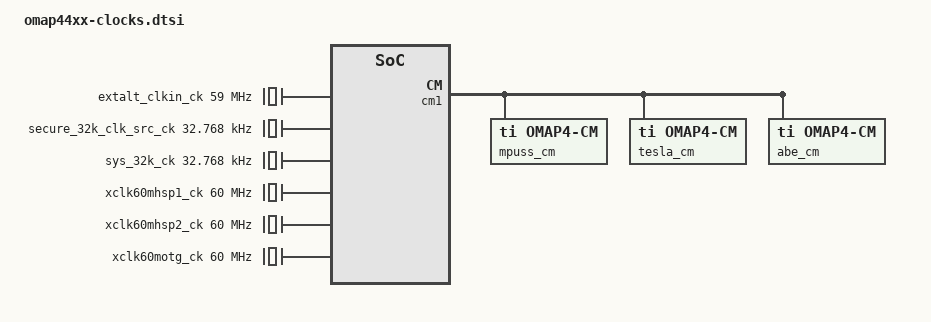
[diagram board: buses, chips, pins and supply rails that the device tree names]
// SPDX-License-Identifier: GPL-2.0-only
/*
 * Device Tree Source for OMAP4 clock data
 *
 * Copyright (C) 2013 Texas Instruments, Inc.
 */
&cm1_clocks {
	extalt_clkin_ck: extalt_clkin_ck {
		#clock-cells = <0>;
		compatible = "fixed-clock";
		clock-output-names = "extalt_clkin_ck";
		clock-frequency = <59000000>;
	};

	pad_clks_src_ck: pad_clks_src_ck {
		#clock-cells = <0>;
		compatible = "fixed-clock";
		clock-output-names = "pad_clks_src_ck";
		clock-frequency = <12000000>;
	};

	pad_clks_ck: pad_clks_ck@108 {
		#clock-cells = <0>;
		compatible = "ti,gate-clock";
		clock-output-names = "pad_clks_ck";
		clocks = <&pad_clks_src_ck>;
		ti,bit-shift = <8>;
		reg = <0x0108>;
	};

	pad_slimbus_core_clks_ck: pad_slimbus_core_clks_ck {
		#clock-cells = <0>;
		compatible = "fixed-clock";
		clock-output-names = "pad_slimbus_core_clks_ck";
		clock-frequency = <12000000>;
	};

	secure_32k_clk_src_ck: secure_32k_clk_src_ck {
		#clock-cells = <0>;
		compatible = "fixed-clock";
		clock-output-names = "secure_32k_clk_src_ck";
		clock-frequency = <32768>;
	};

	slimbus_src_clk: slimbus_src_clk {
		#clock-cells = <0>;
		compatible = "fixed-clock";
		clock-output-names = "slimbus_src_clk";
		clock-frequency = <12000000>;
	};

	slimbus_clk: slimbus_clk@108 {
		#clock-cells = <0>;
		compatible = "ti,gate-clock";
		clock-output-names = "slimbus_clk";
		clocks = <&slimbus_src_clk>;
		ti,bit-shift = <10>;
		reg = <0x0108>;
	};

	sys_32k_ck: sys_32k_ck {
		#clock-cells = <0>;
		compatible = "fixed-clock";
		clock-output-names = "sys_32k_ck";
		clock-frequency = <32768>;
	};

	virt_12000000_ck: virt_12000000_ck {
		#clock-cells = <0>;
		compatible = "fixed-clock";
		clock-output-names = "virt_12000000_ck";
		clock-frequency = <12000000>;
	};

	virt_13000000_ck: virt_13000000_ck {
		#clock-cells = <0>;
		compatible = "fixed-clock";
		clock-output-names = "virt_13000000_ck";
		clock-frequency = <13000000>;
	};

	virt_16800000_ck: virt_16800000_ck {
		#clock-cells = <0>;
		compatible = "fixed-clock";
		clock-output-names = "virt_16800000_ck";
		clock-frequency = <16800000>;
	};

	virt_19200000_ck: virt_19200000_ck {
		#clock-cells = <0>;
		compatible = "fixed-clock";
		clock-output-names = "virt_19200000_ck";
		clock-frequency = <19200000>;
	};

	virt_26000000_ck: virt_26000000_ck {
		#clock-cells = <0>;
		compatible = "fixed-clock";
		clock-output-names = "virt_26000000_ck";
		clock-frequency = <26000000>;
	};

	virt_27000000_ck: virt_27000000_ck {
		#clock-cells = <0>;
		compatible = "fixed-clock";
		clock-output-names = "virt_27000000_ck";
		clock-frequency = <27000000>;
	};

	virt_38400000_ck: virt_38400000_ck {
		#clock-cells = <0>;
		compatible = "fixed-clock";
		clock-output-names = "virt_38400000_ck";
		clock-frequency = <38400000>;
	};

	tie_low_clock_ck: tie_low_clock_ck {
		#clock-cells = <0>;
		compatible = "fixed-clock";
		clock-output-names = "tie_low_clock_ck";
		clock-frequency = <0>;
	};

	utmi_phy_clkout_ck: utmi_phy_clkout_ck {
		#clock-cells = <0>;
		compatible = "fixed-clock";
		clock-output-names = "utmi_phy_clkout_ck";
		clock-frequency = <60000000>;
	};

	xclk60mhsp1_ck: xclk60mhsp1_ck {
		#clock-cells = <0>;
		compatible = "fixed-clock";
		clock-output-names = "xclk60mhsp1_ck";
		clock-frequency = <60000000>;
	};

	xclk60mhsp2_ck: xclk60mhsp2_ck {
		#clock-cells = <0>;
		compatible = "fixed-clock";
		clock-output-names = "xclk60mhsp2_ck";
		clock-frequency = <60000000>;
	};

	xclk60motg_ck: xclk60motg_ck {
		#clock-cells = <0>;
		compatible = "fixed-clock";
		clock-output-names = "xclk60motg_ck";
		clock-frequency = <60000000>;
	};

	dpll_abe_ck: dpll_abe_ck@1e0 {
		#clock-cells = <0>;
		compatible = "ti,omap4-dpll-m4xen-clock";
		clock-output-names = "dpll_abe_ck";
		clocks = <&abe_dpll_refclk_mux_ck>, <&abe_dpll_bypass_clk_mux_ck>;
		reg = <0x01e0>, <0x01e4>, <0x01ec>, <0x01e8>;
	};

	dpll_abe_x2_ck: dpll_abe_x2_ck@1f0 {
		#clock-cells = <0>;
		compatible = "ti,omap4-dpll-x2-clock";
		clock-output-names = "dpll_abe_x2_ck";
		clocks = <&dpll_abe_ck>;
		reg = <0x01f0>;
	};

	dpll_abe_m2x2_ck: dpll_abe_m2x2_ck@1f0 {
		#clock-cells = <0>;
		compatible = "ti,divider-clock";
		clock-output-names = "dpll_abe_m2x2_ck";
		clocks = <&dpll_abe_x2_ck>;
		ti,max-div = <31>;
		ti,autoidle-shift = <8>;
		reg = <0x01f0>;
		ti,index-starts-at-one;
		ti,invert-autoidle-bit;
	};

	abe_24m_fclk: abe_24m_fclk {
		#clock-cells = <0>;
		compatible = "fixed-factor-clock";
		clock-output-names = "abe_24m_fclk";
		clocks = <&dpll_abe_m2x2_ck>;
		clock-mult = <1>;
		clock-div = <8>;
	};

	abe_clk: abe_clk@108 {
		#clock-cells = <0>;
		compatible = "ti,divider-clock";
		clock-output-names = "abe_clk";
		clocks = <&dpll_abe_m2x2_ck>;
		ti,max-div = <4>;
		reg = <0x0108>;
		ti,index-power-of-two;
	};


	dpll_abe_m3x2_ck: dpll_abe_m3x2_ck@1f4 {
		#clock-cells = <0>;
		compatible = "ti,divider-clock";
		clock-output-names = "dpll_abe_m3x2_ck";
		clocks = <&dpll_abe_x2_ck>;
		ti,max-div = <31>;
		ti,autoidle-shift = <8>;
		reg = <0x01f4>;
		ti,index-starts-at-one;
		ti,invert-autoidle-bit;
	};

	core_hsd_byp_clk_mux_ck: core_hsd_byp_clk_mux_ck@12c {
		#clock-cells = <0>;
		compatible = "ti,mux-clock";
		clock-output-names = "core_hsd_byp_clk_mux_ck";
		clocks = <&sys_clkin_ck>, <&dpll_abe_m3x2_ck>;
		ti,bit-shift = <23>;
		reg = <0x012c>;
	};

	dpll_core_ck: dpll_core_ck@120 {
		#clock-cells = <0>;
		compatible = "ti,omap4-dpll-core-clock";
		clock-output-names = "dpll_core_ck";
		clocks = <&sys_clkin_ck>, <&core_hsd_byp_clk_mux_ck>;
		reg = <0x0120>, <0x0124>, <0x012c>, <0x0128>;
	};

	dpll_core_x2_ck: dpll_core_x2_ck {
		#clock-cells = <0>;
		compatible = "ti,omap4-dpll-x2-clock";
		clock-output-names = "dpll_core_x2_ck";
		clocks = <&dpll_core_ck>;
	};

	dpll_core_m6x2_ck: dpll_core_m6x2_ck@140 {
		#clock-cells = <0>;
		compatible = "ti,divider-clock";
		clock-output-names = "dpll_core_m6x2_ck";
		clocks = <&dpll_core_x2_ck>;
		ti,max-div = <31>;
		ti,autoidle-shift = <8>;
		reg = <0x0140>;
		ti,index-starts-at-one;
		ti,invert-autoidle-bit;
	};

	dpll_core_m2_ck: dpll_core_m2_ck@130 {
		#clock-cells = <0>;
		compatible = "ti,divider-clock";
		clock-output-names = "dpll_core_m2_ck";
		clocks = <&dpll_core_ck>;
		ti,max-div = <31>;
		ti,autoidle-shift = <8>;
		reg = <0x0130>;
		ti,index-starts-at-one;
		ti,invert-autoidle-bit;
	};

	ddrphy_ck: ddrphy_ck {
		#clock-cells = <0>;
		compatible = "fixed-factor-clock";
		clock-output-names = "ddrphy_ck";
		clocks = <&dpll_core_m2_ck>;
		clock-mult = <1>;
		clock-div = <2>;
	};

	dpll_core_m5x2_ck: dpll_core_m5x2_ck@13c {
		#clock-cells = <0>;
		compatible = "ti,divider-clock";
		clock-output-names = "dpll_core_m5x2_ck";
		clocks = <&dpll_core_x2_ck>;
		ti,max-div = <31>;
		ti,autoidle-shift = <8>;
		reg = <0x013c>;
		ti,index-starts-at-one;
		ti,invert-autoidle-bit;
	};

	div_core_ck: div_core_ck@100 {
		#clock-cells = <0>;
		compatible = "ti,divider-clock";
		clock-output-names = "div_core_ck";
		clocks = <&dpll_core_m5x2_ck>;
		reg = <0x0100>;
		ti,max-div = <2>;
	};

	div_iva_hs_clk: div_iva_hs_clk@1dc {
		#clock-cells = <0>;
		compatible = "ti,divider-clock";
		clock-output-names = "div_iva_hs_clk";
		clocks = <&dpll_core_m5x2_ck>;
		ti,max-div = <4>;
		reg = <0x01dc>;
		ti,index-power-of-two;
	};

	div_mpu_hs_clk: div_mpu_hs_clk@19c {
		#clock-cells = <0>;
		compatible = "ti,divider-clock";
		clock-output-names = "div_mpu_hs_clk";
		clocks = <&dpll_core_m5x2_ck>;
		ti,max-div = <4>;
		reg = <0x019c>;
		ti,index-power-of-two;
	};

	dpll_core_m4x2_ck: dpll_core_m4x2_ck@138 {
		#clock-cells = <0>;
		compatible = "ti,divider-clock";
		clock-output-names = "dpll_core_m4x2_ck";
		clocks = <&dpll_core_x2_ck>;
		ti,max-div = <31>;
		ti,autoidle-shift = <8>;
		reg = <0x0138>;
		ti,index-starts-at-one;
		ti,invert-autoidle-bit;
	};

	dll_clk_div_ck: dll_clk_div_ck {
		#clock-cells = <0>;
		compatible = "fixed-factor-clock";
		clock-output-names = "dll_clk_div_ck";
		clocks = <&dpll_core_m4x2_ck>;
		clock-mult = <1>;
		clock-div = <2>;
	};

	dpll_abe_m2_ck: dpll_abe_m2_ck@1f0 {
		#clock-cells = <0>;
		compatible = "ti,divider-clock";
		clock-output-names = "dpll_abe_m2_ck";
		clocks = <&dpll_abe_ck>;
		ti,max-div = <31>;
		reg = <0x01f0>;
		ti,index-starts-at-one;
	};

	dpll_core_m3x2_gate_ck: dpll_core_m3x2_gate_ck@134 {
		#clock-cells = <0>;
		compatible = "ti,composite-no-wait-gate-clock";
		clock-output-names = "dpll_core_m3x2_gate_ck";
		clocks = <&dpll_core_x2_ck>;
		ti,bit-shift = <8>;
		reg = <0x0134>;
	};

	dpll_core_m3x2_div_ck: dpll_core_m3x2_div_ck@134 {
		#clock-cells = <0>;
		compatible = "ti,composite-divider-clock";
		clock-output-names = "dpll_core_m3x2_div_ck";
		clocks = <&dpll_core_x2_ck>;
		ti,max-div = <31>;
		reg = <0x0134>;
		ti,index-starts-at-one;
	};

	dpll_core_m3x2_ck: dpll_core_m3x2_ck {
		#clock-cells = <0>;
		compatible = "ti,composite-clock";
		clock-output-names = "dpll_core_m3x2_ck";
		clocks = <&dpll_core_m3x2_gate_ck>, <&dpll_core_m3x2_div_ck>;
	};

	dpll_core_m7x2_ck: dpll_core_m7x2_ck@144 {
		#clock-cells = <0>;
		compatible = "ti,divider-clock";
		clock-output-names = "dpll_core_m7x2_ck";
		clocks = <&dpll_core_x2_ck>;
		ti,max-div = <31>;
		ti,autoidle-shift = <8>;
		reg = <0x0144>;
		ti,index-starts-at-one;
		ti,invert-autoidle-bit;
	};

	iva_hsd_byp_clk_mux_ck: iva_hsd_byp_clk_mux_ck@1ac {
		#clock-cells = <0>;
		compatible = "ti,mux-clock";
		clock-output-names = "iva_hsd_byp_clk_mux_ck";
		clocks = <&sys_clkin_ck>, <&div_iva_hs_clk>;
		ti,bit-shift = <23>;
		reg = <0x01ac>;
	};

	dpll_iva_ck: dpll_iva_ck@1a0 {
		#clock-cells = <0>;
		compatible = "ti,omap4-dpll-clock";
		clock-output-names = "dpll_iva_ck";
		clocks = <&sys_clkin_ck>, <&iva_hsd_byp_clk_mux_ck>;
		reg = <0x01a0>, <0x01a4>, <0x01ac>, <0x01a8>;
		assigned-clocks = <&dpll_iva_ck>;
		assigned-clock-rates = <931200000>;
	};

	dpll_iva_x2_ck: dpll_iva_x2_ck {
		#clock-cells = <0>;
		compatible = "ti,omap4-dpll-x2-clock";
		clock-output-names = "dpll_iva_x2_ck";
		clocks = <&dpll_iva_ck>;
	};

	dpll_iva_m4x2_ck: dpll_iva_m4x2_ck@1b8 {
		#clock-cells = <0>;
		compatible = "ti,divider-clock";
		clock-output-names = "dpll_iva_m4x2_ck";
		clocks = <&dpll_iva_x2_ck>;
		ti,max-div = <31>;
		ti,autoidle-shift = <8>;
		reg = <0x01b8>;
		ti,index-starts-at-one;
		ti,invert-autoidle-bit;
		assigned-clocks = <&dpll_iva_m4x2_ck>;
		assigned-clock-rates = <465600000>;
	};

	dpll_iva_m5x2_ck: dpll_iva_m5x2_ck@1bc {
		#clock-cells = <0>;
		compatible = "ti,divider-clock";
		clock-output-names = "dpll_iva_m5x2_ck";
		clocks = <&dpll_iva_x2_ck>;
		ti,max-div = <31>;
		ti,autoidle-shift = <8>;
		reg = <0x01bc>;
		ti,index-starts-at-one;
		ti,invert-autoidle-bit;
		assigned-clocks = <&dpll_iva_m5x2_ck>;
		assigned-clock-rates = <266100000>;
	};

	dpll_mpu_ck: dpll_mpu_ck@160 {
		#clock-cells = <0>;
		compatible = "ti,omap4-dpll-clock";
		clock-output-names = "dpll_mpu_ck";
		clocks = <&sys_clkin_ck>, <&div_mpu_hs_clk>;
		reg = <0x0160>, <0x0164>, <0x016c>, <0x0168>;
	};

	dpll_mpu_m2_ck: dpll_mpu_m2_ck@170 {
		#clock-cells = <0>;
		compatible = "ti,divider-clock";
		clock-output-names = "dpll_mpu_m2_ck";
		clocks = <&dpll_mpu_ck>;
		ti,max-div = <31>;
		ti,autoidle-shift = <8>;
		reg = <0x0170>;
		ti,index-starts-at-one;
		ti,invert-autoidle-bit;
	};

	per_hs_clk_div_ck: per_hs_clk_div_ck {
		#clock-cells = <0>;
		compatible = "fixed-factor-clock";
		clock-output-names = "per_hs_clk_div_ck";
		clocks = <&dpll_abe_m3x2_ck>;
		clock-mult = <1>;
		clock-div = <2>;
	};

	usb_hs_clk_div_ck: usb_hs_clk_div_ck {
		#clock-cells = <0>;
		compatible = "fixed-factor-clock";
		clock-output-names = "usb_hs_clk_div_ck";
		clocks = <&dpll_abe_m3x2_ck>;
		clock-mult = <1>;
		clock-div = <3>;
	};

	l3_div_ck: l3_div_ck@100 {
		#clock-cells = <0>;
		compatible = "ti,divider-clock";
		clock-output-names = "l3_div_ck";
		clocks = <&div_core_ck>;
		ti,bit-shift = <4>;
		ti,max-div = <2>;
		reg = <0x0100>;
	};

	l4_div_ck: l4_div_ck@100 {
		#clock-cells = <0>;
		compatible = "ti,divider-clock";
		clock-output-names = "l4_div_ck";
		clocks = <&l3_div_ck>;
		ti,bit-shift = <8>;
		ti,max-div = <2>;
		reg = <0x0100>;
	};

	lp_clk_div_ck: lp_clk_div_ck {
		#clock-cells = <0>;
		compatible = "fixed-factor-clock";
		clock-output-names = "lp_clk_div_ck";
		clocks = <&dpll_abe_m2x2_ck>;
		clock-mult = <1>;
		clock-div = <16>;
	};

	mpu_periphclk: mpu_periphclk {
		#clock-cells = <0>;
		compatible = "fixed-factor-clock";
		clock-output-names = "mpu_periphclk";
		clocks = <&dpll_mpu_ck>;
		clock-mult = <1>;
		clock-div = <2>;
	};

	ocp_abe_iclk: ocp_abe_iclk@528 {
		#clock-cells = <0>;
		compatible = "ti,divider-clock";
		clock-output-names = "ocp_abe_iclk";
		clocks = <&abe_clkctrl OMAP4_AESS_CLKCTRL 24>;
		ti,bit-shift = <24>;
		reg = <0x0528>;
		ti,dividers = <2>, <1>;
	};

	per_abe_24m_fclk: per_abe_24m_fclk {
		#clock-cells = <0>;
		compatible = "fixed-factor-clock";
		clock-output-names = "per_abe_24m_fclk";
		clocks = <&dpll_abe_m2_ck>;
		clock-mult = <1>;
		clock-div = <4>;
	};

	dummy_ck: dummy_ck {
		#clock-cells = <0>;
		compatible = "fixed-clock";
		clock-output-names = "dummy_ck";
		clock-frequency = <0>;
	};
};

&prm_clocks {
	sys_clkin_ck: sys_clkin_ck@110 {
		#clock-cells = <0>;
		compatible = "ti,mux-clock";
		clock-output-names = "sys_clkin_ck";
		clocks = <&virt_12000000_ck>, <&virt_13000000_ck>, <&virt_16800000_ck>, <&virt_19200000_ck>, <&virt_26000000_ck>, <&virt_27000000_ck>, <&virt_38400000_ck>;
		reg = <0x0110>;
		ti,index-starts-at-one;
	};

	abe_dpll_bypass_clk_mux_ck: abe_dpll_bypass_clk_mux_ck@108 {
		#clock-cells = <0>;
		compatible = "ti,mux-clock";
		clock-output-names = "abe_dpll_bypass_clk_mux_ck";
		clocks = <&sys_clkin_ck>, <&sys_32k_ck>;
		ti,bit-shift = <24>;
		reg = <0x0108>;
	};

	abe_dpll_refclk_mux_ck: abe_dpll_refclk_mux_ck@10c {
		#clock-cells = <0>;
		compatible = "ti,mux-clock";
		clock-output-names = "abe_dpll_refclk_mux_ck";
		clocks = <&sys_clkin_ck>, <&sys_32k_ck>;
		reg = <0x010c>;
	};

	dbgclk_mux_ck: dbgclk_mux_ck {
		#clock-cells = <0>;
		compatible = "fixed-factor-clock";
		clock-output-names = "dbgclk_mux_ck";
		clocks = <&sys_clkin_ck>;
		clock-mult = <1>;
		clock-div = <1>;
	};

	l4_wkup_clk_mux_ck: l4_wkup_clk_mux_ck@108 {
		#clock-cells = <0>;
		compatible = "ti,mux-clock";
		clock-output-names = "l4_wkup_clk_mux_ck";
		clocks = <&sys_clkin_ck>, <&lp_clk_div_ck>;
		reg = <0x0108>;
	};

	syc_clk_div_ck: syc_clk_div_ck@100 {
		#clock-cells = <0>;
		compatible = "ti,divider-clock";
		clock-output-names = "syc_clk_div_ck";
		clocks = <&sys_clkin_ck>;
		reg = <0x0100>;
		ti,max-div = <2>;
	};

	usim_ck: usim_ck@1858 {
		#clock-cells = <0>;
		compatible = "ti,divider-clock";
		clock-output-names = "usim_ck";
		clocks = <&dpll_per_m4x2_ck>;
		ti,bit-shift = <24>;
		reg = <0x1858>;
		ti,dividers = <14>, <18>;
	};

	usim_fclk: usim_fclk@1858 {
		#clock-cells = <0>;
		compatible = "ti,gate-clock";
		clock-output-names = "usim_fclk";
		clocks = <&usim_ck>;
		ti,bit-shift = <8>;
		reg = <0x1858>;
	};

	trace_clk_div_ck: trace_clk_div_ck {
		#clock-cells = <0>;
		compatible = "ti,clkdm-gate-clock";
		clock-output-names = "trace_clk_div_ck";
		clocks = <&emu_sys_clkctrl OMAP4_DEBUGSS_CLKCTRL 24>;
	};
};

&prm_clockdomains {
	emu_sys_clkdm: emu_sys_clkdm {
		compatible = "ti,clockdomain";
		clock-output-names = "emu_sys_clkdm";
		clocks = <&trace_clk_div_ck>;
	};
};

&cm2_clocks {
	per_hsd_byp_clk_mux_ck: per_hsd_byp_clk_mux_ck@14c {
		#clock-cells = <0>;
		compatible = "ti,mux-clock";
		clock-output-names = "per_hsd_byp_clk_mux_ck";
		clocks = <&sys_clkin_ck>, <&per_hs_clk_div_ck>;
		ti,bit-shift = <23>;
		reg = <0x014c>;
	};

	dpll_per_ck: dpll_per_ck@140 {
		#clock-cells = <0>;
		compatible = "ti,omap4-dpll-clock";
		clock-output-names = "dpll_per_ck";
		clocks = <&sys_clkin_ck>, <&per_hsd_byp_clk_mux_ck>;
		reg = <0x0140>, <0x0144>, <0x014c>, <0x0148>;
	};

	dpll_per_m2_ck: dpll_per_m2_ck@150 {
		#clock-cells = <0>;
		compatible = "ti,divider-clock";
		clock-output-names = "dpll_per_m2_ck";
		clocks = <&dpll_per_ck>;
		ti,max-div = <31>;
		reg = <0x0150>;
		ti,index-starts-at-one;
	};

	dpll_per_x2_ck: dpll_per_x2_ck@150 {
		#clock-cells = <0>;
		compatible = "ti,omap4-dpll-x2-clock";
		clock-output-names = "dpll_per_x2_ck";
		clocks = <&dpll_per_ck>;
		reg = <0x0150>;
	};

	dpll_per_m2x2_ck: dpll_per_m2x2_ck@150 {
		#clock-cells = <0>;
		compatible = "ti,divider-clock";
		clock-output-names = "dpll_per_m2x2_ck";
		clocks = <&dpll_per_x2_ck>;
		ti,max-div = <31>;
		ti,autoidle-shift = <8>;
		reg = <0x0150>;
		ti,index-starts-at-one;
		ti,invert-autoidle-bit;
	};

	dpll_per_m3x2_gate_ck: dpll_per_m3x2_gate_ck@154 {
		#clock-cells = <0>;
		compatible = "ti,composite-no-wait-gate-clock";
		clock-output-names = "dpll_per_m3x2_gate_ck";
		clocks = <&dpll_per_x2_ck>;
		ti,bit-shift = <8>;
		reg = <0x0154>;
	};

	dpll_per_m3x2_div_ck: dpll_per_m3x2_div_ck@154 {
		#clock-cells = <0>;
		compatible = "ti,composite-divider-clock";
		clock-output-names = "dpll_per_m3x2_div_ck";
		clocks = <&dpll_per_x2_ck>;
		ti,max-div = <31>;
		reg = <0x0154>;
		ti,index-starts-at-one;
	};

	dpll_per_m3x2_ck: dpll_per_m3x2_ck {
		#clock-cells = <0>;
		compatible = "ti,composite-clock";
		clock-output-names = "dpll_per_m3x2_ck";
		clocks = <&dpll_per_m3x2_gate_ck>, <&dpll_per_m3x2_div_ck>;
	};

	dpll_per_m4x2_ck: dpll_per_m4x2_ck@158 {
		#clock-cells = <0>;
		compatible = "ti,divider-clock";
		clock-output-names = "dpll_per_m4x2_ck";
		clocks = <&dpll_per_x2_ck>;
		ti,max-div = <31>;
		ti,autoidle-shift = <8>;
		reg = <0x0158>;
		ti,index-starts-at-one;
		ti,invert-autoidle-bit;
	};

	dpll_per_m5x2_ck: dpll_per_m5x2_ck@15c {
		#clock-cells = <0>;
		compatible = "ti,divider-clock";
		clock-output-names = "dpll_per_m5x2_ck";
		clocks = <&dpll_per_x2_ck>;
		ti,max-div = <31>;
		ti,autoidle-shift = <8>;
		reg = <0x015c>;
		ti,index-starts-at-one;
		ti,invert-autoidle-bit;
	};

	dpll_per_m6x2_ck: dpll_per_m6x2_ck@160 {
		#clock-cells = <0>;
		compatible = "ti,divider-clock";
		clock-output-names = "dpll_per_m6x2_ck";
		clocks = <&dpll_per_x2_ck>;
		ti,max-div = <31>;
		ti,autoidle-shift = <8>;
		reg = <0x0160>;
		ti,index-starts-at-one;
		ti,invert-autoidle-bit;
	};

	dpll_per_m7x2_ck: dpll_per_m7x2_ck@164 {
		#clock-cells = <0>;
		compatible = "ti,divider-clock";
		clock-output-names = "dpll_per_m7x2_ck";
		clocks = <&dpll_per_x2_ck>;
		ti,max-div = <31>;
		ti,autoidle-shift = <8>;
		reg = <0x0164>;
		ti,index-starts-at-one;
		ti,invert-autoidle-bit;
	};

	dpll_usb_ck: dpll_usb_ck@180 {
		#clock-cells = <0>;
		compatible = "ti,omap4-dpll-j-type-clock";
		clock-output-names = "dpll_usb_ck";
		clocks = <&sys_clkin_ck>, <&usb_hs_clk_div_ck>;
		reg = <0x0180>, <0x0184>, <0x018c>, <0x0188>;
	};

	dpll_usb_clkdcoldo_ck: dpll_usb_clkdcoldo_ck@1b4 {
		#clock-cells = <0>;
		compatible = "ti,fixed-factor-clock";
		clock-output-names = "dpll_usb_clkdcoldo_ck";
		clocks = <&dpll_usb_ck>;
		ti,clock-div = <1>;
		ti,autoidle-shift = <8>;
		reg = <0x01b4>;
		ti,clock-mult = <1>;
		ti,invert-autoidle-bit;
	};

	dpll_usb_m2_ck: dpll_usb_m2_ck@190 {
		#clock-cells = <0>;
		compatible = "ti,divider-clock";
		clock-output-names = "dpll_usb_m2_ck";
		clocks = <&dpll_usb_ck>;
		ti,max-div = <127>;
		ti,autoidle-shift = <8>;
		reg = <0x0190>;
		ti,index-starts-at-one;
		ti,invert-autoidle-bit;
	};

	ducati_clk_mux_ck: ducati_clk_mux_ck@100 {
		#clock-cells = <0>;
		compatible = "ti,mux-clock";
		clock-output-names = "ducati_clk_mux_ck";
		clocks = <&div_core_ck>, <&dpll_per_m6x2_ck>;
		reg = <0x0100>;
	};

	func_12m_fclk: func_12m_fclk {
		#clock-cells = <0>;
		compatible = "fixed-factor-clock";
		clock-output-names = "func_12m_fclk";
		clocks = <&dpll_per_m2x2_ck>;
		clock-mult = <1>;
		clock-div = <16>;
	};

	func_24m_clk: func_24m_clk {
		#clock-cells = <0>;
		compatible = "fixed-factor-clock";
		clock-output-names = "func_24m_clk";
		clocks = <&dpll_per_m2_ck>;
		clock-mult = <1>;
		clock-div = <4>;
	};

	func_24mc_fclk: func_24mc_fclk {
		#clock-cells = <0>;
		compatible = "fixed-factor-clock";
		clock-output-names = "func_24mc_fclk";
		clocks = <&dpll_per_m2x2_ck>;
		clock-mult = <1>;
		clock-div = <8>;
	};

	func_48m_fclk: func_48m_fclk@108 {
		#clock-cells = <0>;
		compatible = "ti,divider-clock";
		clock-output-names = "func_48m_fclk";
		clocks = <&dpll_per_m2x2_ck>;
		reg = <0x0108>;
		ti,dividers = <4>, <8>;
	};

	func_48mc_fclk: func_48mc_fclk {
		#clock-cells = <0>;
		compatible = "fixed-factor-clock";
		clock-output-names = "func_48mc_fclk";
		clocks = <&dpll_per_m2x2_ck>;
		clock-mult = <1>;
		clock-div = <4>;
	};

	func_64m_fclk: func_64m_fclk@108 {
		#clock-cells = <0>;
		compatible = "ti,divider-clock";
		clock-output-names = "func_64m_fclk";
		clocks = <&dpll_per_m4x2_ck>;
		reg = <0x0108>;
		ti,dividers = <2>, <4>;
	};

	func_96m_fclk: func_96m_fclk@108 {
		#clock-cells = <0>;
		compatible = "ti,divider-clock";
		clock-output-names = "func_96m_fclk";
		clocks = <&dpll_per_m2x2_ck>;
		reg = <0x0108>;
		ti,dividers = <2>, <4>;
	};

	init_60m_fclk: init_60m_fclk@104 {
		#clock-cells = <0>;
		compatible = "ti,divider-clock";
		clock-output-names = "init_60m_fclk";
		clocks = <&dpll_usb_m2_ck>;
		reg = <0x0104>;
		ti,dividers = <1>, <8>;
	};

	per_abe_nc_fclk: per_abe_nc_fclk@108 {
		#clock-cells = <0>;
		compatible = "ti,divider-clock";
		clock-output-names = "per_abe_nc_fclk";
		clocks = <&dpll_abe_m2_ck>;
		reg = <0x0108>;
		ti,max-div = <2>;
	};

	usb_phy_cm_clk32k: usb_phy_cm_clk32k@640 {
		#clock-cells = <0>;
		compatible = "ti,gate-clock";
		clock-output-names = "usb_phy_cm_clk32k";
		clocks = <&sys_32k_ck>;
		ti,bit-shift = <8>;
		reg = <0x0640>;
	};
};

&cm2_clockdomains {
	l3_init_clkdm: l3_init_clkdm {
		compatible = "ti,clockdomain";
		clock-output-names = "l3_init_clkdm";
		clocks = <&dpll_usb_ck>;
	};
};

&scrm_clocks {
	auxclk0_src_gate_ck: auxclk0_src_gate_ck@310 {
		#clock-cells = <0>;
		compatible = "ti,composite-no-wait-gate-clock";
		clock-output-names = "auxclk0_src_gate_ck";
		clocks = <&dpll_core_m3x2_ck>;
		ti,bit-shift = <8>;
		reg = <0x0310>;
	};

	auxclk0_src_mux_ck: auxclk0_src_mux_ck@310 {
		#clock-cells = <0>;
		compatible = "ti,composite-mux-clock";
		clock-output-names = "auxclk0_src_mux_ck";
		clocks = <&sys_clkin_ck>, <&dpll_core_m3x2_ck>, <&dpll_per_m3x2_ck>;
		ti,bit-shift = <1>;
		reg = <0x0310>;
	};

	auxclk0_src_ck: auxclk0_src_ck {
		#clock-cells = <0>;
		compatible = "ti,composite-clock";
		clock-output-names = "auxclk0_src_ck";
		clocks = <&auxclk0_src_gate_ck>, <&auxclk0_src_mux_ck>;
	};

	auxclk0_ck: auxclk0_ck@310 {
		#clock-cells = <0>;
		compatible = "ti,divider-clock";
		clock-output-names = "auxclk0_ck";
		clocks = <&auxclk0_src_ck>;
		ti,bit-shift = <16>;
		ti,max-div = <16>;
		reg = <0x0310>;
	};

	auxclk1_src_gate_ck: auxclk1_src_gate_ck@314 {
		#clock-cells = <0>;
		compatible = "ti,composite-no-wait-gate-clock";
		clock-output-names = "auxclk1_src_gate_ck";
		clocks = <&dpll_core_m3x2_ck>;
		ti,bit-shift = <8>;
		reg = <0x0314>;
	};

	auxclk1_src_mux_ck: auxclk1_src_mux_ck@314 {
		#clock-cells = <0>;
		compatible = "ti,composite-mux-clock";
		clock-output-names = "auxclk1_src_mux_ck";
		clocks = <&sys_clkin_ck>, <&dpll_core_m3x2_ck>, <&dpll_per_m3x2_ck>;
		ti,bit-shift = <1>;
		reg = <0x0314>;
	};

	auxclk1_src_ck: auxclk1_src_ck {
		#clock-cells = <0>;
		compatible = "ti,composite-clock";
		clock-output-names = "auxclk1_src_ck";
		clocks = <&auxclk1_src_gate_ck>, <&auxclk1_src_mux_ck>;
	};

	auxclk1_ck: auxclk1_ck@314 {
		#clock-cells = <0>;
		compatible = "ti,divider-clock";
		clock-output-names = "auxclk1_ck";
		clocks = <&auxclk1_src_ck>;
		ti,bit-shift = <16>;
		ti,max-div = <16>;
		reg = <0x0314>;
	};

	auxclk2_src_gate_ck: auxclk2_src_gate_ck@318 {
		#clock-cells = <0>;
		compatible = "ti,composite-no-wait-gate-clock";
		clock-output-names = "auxclk2_src_gate_ck";
		clocks = <&dpll_core_m3x2_ck>;
		ti,bit-shift = <8>;
		reg = <0x0318>;
	};

	auxclk2_src_mux_ck: auxclk2_src_mux_ck@318 {
		#clock-cells = <0>;
		compatible = "ti,composite-mux-clock";
		clock-output-names = "auxclk2_src_mux_ck";
		clocks = <&sys_clkin_ck>, <&dpll_core_m3x2_ck>, <&dpll_per_m3x2_ck>;
		ti,bit-shift = <1>;
		reg = <0x0318>;
	};

	auxclk2_src_ck: auxclk2_src_ck {
		#clock-cells = <0>;
		compatible = "ti,composite-clock";
		clock-output-names = "auxclk2_src_ck";
		clocks = <&auxclk2_src_gate_ck>, <&auxclk2_src_mux_ck>;
	};

	auxclk2_ck: auxclk2_ck@318 {
		#clock-cells = <0>;
		compatible = "ti,divider-clock";
		clock-output-names = "auxclk2_ck";
		clocks = <&auxclk2_src_ck>;
		ti,bit-shift = <16>;
		ti,max-div = <16>;
		reg = <0x0318>;
	};

	auxclk3_src_gate_ck: auxclk3_src_gate_ck@31c {
		#clock-cells = <0>;
		compatible = "ti,composite-no-wait-gate-clock";
		clock-output-names = "auxclk3_src_gate_ck";
		clocks = <&dpll_core_m3x2_ck>;
		ti,bit-shift = <8>;
		reg = <0x031c>;
	};

	auxclk3_src_mux_ck: auxclk3_src_mux_ck@31c {
		#clock-cells = <0>;
		compatible = "ti,composite-mux-clock";
		clock-output-names = "auxclk3_src_mux_ck";
		clocks = <&sys_clkin_ck>, <&dpll_core_m3x2_ck>, <&dpll_per_m3x2_ck>;
		ti,bit-shift = <1>;
		reg = <0x031c>;
	};

	auxclk3_src_ck: auxclk3_src_ck {
		#clock-cells = <0>;
		compatible = "ti,composite-clock";
		clock-output-names = "auxclk3_src_ck";
		clocks = <&auxclk3_src_gate_ck>, <&auxclk3_src_mux_ck>;
	};

	auxclk3_ck: auxclk3_ck@31c {
		#clock-cells = <0>;
		compatible = "ti,divider-clock";
		clock-output-names = "auxclk3_ck";
		clocks = <&auxclk3_src_ck>;
		ti,bit-shift = <16>;
		ti,max-div = <16>;
		reg = <0x031c>;
	};

	auxclk4_src_gate_ck: auxclk4_src_gate_ck@320 {
		#clock-cells = <0>;
		compatible = "ti,composite-no-wait-gate-clock";
		clock-output-names = "auxclk4_src_gate_ck";
		clocks = <&dpll_core_m3x2_ck>;
		ti,bit-shift = <8>;
		reg = <0x0320>;
	};

	auxclk4_src_mux_ck: auxclk4_src_mux_ck@320 {
		#clock-cells = <0>;
		compatible = "ti,composite-mux-clock";
		clock-output-names = "auxclk4_src_mux_ck";
		clocks = <&sys_clkin_ck>, <&dpll_core_m3x2_ck>, <&dpll_per_m3x2_ck>;
		ti,bit-shift = <1>;
		reg = <0x0320>;
	};

	auxclk4_src_ck: auxclk4_src_ck {
		#clock-cells = <0>;
		compatible = "ti,composite-clock";
		clock-output-names = "auxclk4_src_ck";
		clocks = <&auxclk4_src_gate_ck>, <&auxclk4_src_mux_ck>;
	};

	auxclk4_ck: auxclk4_ck@320 {
		#clock-cells = <0>;
		compatible = "ti,divider-clock";
		clock-output-names = "auxclk4_ck";
		clocks = <&auxclk4_src_ck>;
		ti,bit-shift = <16>;
		ti,max-div = <16>;
		reg = <0x0320>;
	};

	auxclk5_src_gate_ck: auxclk5_src_gate_ck@324 {
		#clock-cells = <0>;
		compatible = "ti,composite-no-wait-gate-clock";
		clock-output-names = "auxclk5_src_gate_ck";
		clocks = <&dpll_core_m3x2_ck>;
		ti,bit-shift = <8>;
		reg = <0x0324>;
	};

	auxclk5_src_mux_ck: auxclk5_src_mux_ck@324 {
		#clock-cells = <0>;
		compatible = "ti,composite-mux-clock";
		clock-output-names = "auxclk5_src_mux_ck";
		clocks = <&sys_clkin_ck>, <&dpll_core_m3x2_ck>, <&dpll_per_m3x2_ck>;
		ti,bit-shift = <1>;
		reg = <0x0324>;
	};

	auxclk5_src_ck: auxclk5_src_ck {
		#clock-cells = <0>;
		compatible = "ti,composite-clock";
		clock-output-names = "auxclk5_src_ck";
		clocks = <&auxclk5_src_gate_ck>, <&auxclk5_src_mux_ck>;
	};

	auxclk5_ck: auxclk5_ck@324 {
		#clock-cells = <0>;
		compatible = "ti,divider-clock";
		clock-output-names = "auxclk5_ck";
		clocks = <&auxclk5_src_ck>;
		ti,bit-shift = <16>;
		ti,max-div = <16>;
		reg = <0x0324>;
	};

	auxclkreq0_ck: auxclkreq0_ck@210 {
		#clock-cells = <0>;
		compatible = "ti,mux-clock";
		clock-output-names = "auxclkreq0_ck";
		clocks = <&auxclk0_ck>, <&auxclk1_ck>, <&auxclk2_ck>, <&auxclk3_ck>, <&auxclk4_ck>, <&auxclk5_ck>;
		ti,bit-shift = <2>;
		reg = <0x0210>;
	};

	auxclkreq1_ck: auxclkreq1_ck@214 {
		#clock-cells = <0>;
		compatible = "ti,mux-clock";
		clock-output-names = "auxclkreq1_ck";
		clocks = <&auxclk0_ck>, <&auxclk1_ck>, <&auxclk2_ck>, <&auxclk3_ck>, <&auxclk4_ck>, <&auxclk5_ck>;
		ti,bit-shift = <2>;
		reg = <0x0214>;
	};

	auxclkreq2_ck: auxclkreq2_ck@218 {
		#clock-cells = <0>;
		compatible = "ti,mux-clock";
		clock-output-names = "auxclkreq2_ck";
		clocks = <&auxclk0_ck>, <&auxclk1_ck>, <&auxclk2_ck>, <&auxclk3_ck>, <&auxclk4_ck>, <&auxclk5_ck>;
		ti,bit-shift = <2>;
		reg = <0x0218>;
	};

	auxclkreq3_ck: auxclkreq3_ck@21c {
		#clock-cells = <0>;
		compatible = "ti,mux-clock";
		clock-output-names = "auxclkreq3_ck";
		clocks = <&auxclk0_ck>, <&auxclk1_ck>, <&auxclk2_ck>, <&auxclk3_ck>, <&auxclk4_ck>, <&auxclk5_ck>;
		ti,bit-shift = <2>;
		reg = <0x021c>;
	};

	auxclkreq4_ck: auxclkreq4_ck@220 {
		#clock-cells = <0>;
		compatible = "ti,mux-clock";
		clock-output-names = "auxclkreq4_ck";
		clocks = <&auxclk0_ck>, <&auxclk1_ck>, <&auxclk2_ck>, <&auxclk3_ck>, <&auxclk4_ck>, <&auxclk5_ck>;
		ti,bit-shift = <2>;
		reg = <0x0220>;
	};

	auxclkreq5_ck: auxclkreq5_ck@224 {
		#clock-cells = <0>;
		compatible = "ti,mux-clock";
		clock-output-names = "auxclkreq5_ck";
		clocks = <&auxclk0_ck>, <&auxclk1_ck>, <&auxclk2_ck>, <&auxclk3_ck>, <&auxclk4_ck>, <&auxclk5_ck>;
		ti,bit-shift = <2>;
		reg = <0x0224>;
	};
};

&cm1 {
	mpuss_cm: mpuss_cm@300 {
		compatible = "ti,omap4-cm";
		clock-output-names = "mpuss_cm";
		reg = <0x300 0x100>;
		#address-cells = <1>;
		#size-cells = <1>;
		ranges = <0 0x300 0x100>;

		mpuss_clkctrl: clk@20 {
			compatible = "ti,clkctrl";
			clock-output-names = "mpuss_clkctrl";
			reg = <0x20 0x4>;
			#clock-cells = <2>;
		};
	};

	tesla_cm: tesla_cm@400 {
		compatible = "ti,omap4-cm";
		clock-output-names = "tesla_cm";
		reg = <0x400 0x100>;
		#address-cells = <1>;
		#size-cells = <1>;
		ranges = <0 0x400 0x100>;

		tesla_clkctrl: clk@20 {
			compatible = "ti,clkctrl";
			clock-output-names = "tesla_clkctrl";
			reg = <0x20 0x4>;
			#clock-cells = <2>;
		};
	};

	abe_cm: abe_cm@500 {
		compatible = "ti,omap4-cm";
		clock-output-names = "abe_cm";
		reg = <0x500 0x100>;
		#address-cells = <1>;
		#size-cells = <1>;
		ranges = <0 0x500 0x100>;

		abe_clkctrl: clk@20 {
			compatible = "ti,clkctrl";
			clock-output-names = "abe_clkctrl";
			reg = <0x20 0x6c>;
			#clock-cells = <2>;
		};
	};

};

&cm2 {
	l4_ao_cm: l4_ao_cm@600 {
		compatible = "ti,omap4-cm";
		clock-output-names = "l4_ao_cm";
		reg = <0x600 0x100>;
		#address-cells = <1>;
		#size-cells = <1>;
		ranges = <0 0x600 0x100>;

		l4_ao_clkctrl: clk@20 {
			compatible = "ti,clkctrl";
			clock-output-names = "l4_ao_clkctrl";
			reg = <0x20 0x1c>;
			#clock-cells = <2>;
		};
	};

	l3_1_cm: l3_1_cm@700 {
		compatible = "ti,omap4-cm";
		clock-output-names = "l3_1_cm";
		reg = <0x700 0x100>;
		#address-cells = <1>;
		#size-cells = <1>;
		ranges = <0 0x700 0x100>;

		l3_1_clkctrl: clk@20 {
			compatible = "ti,clkctrl";
			clock-output-names = "l3_1_clkctrl";
			reg = <0x20 0x4>;
			#clock-cells = <2>;
		};
	};

	l3_2_cm: l3_2_cm@800 {
		compatible = "ti,omap4-cm";
		clock-output-names = "l3_2_cm";
		reg = <0x800 0x100>;
		#address-cells = <1>;
		#size-cells = <1>;
		ranges = <0 0x800 0x100>;

		l3_2_clkctrl: clk@20 {
			compatible = "ti,clkctrl";
			clock-output-names = "l3_2_clkctrl";
			reg = <0x20 0x14>;
			#clock-cells = <2>;
		};
	};

	ducati_cm: ducati_cm@900 {
		compatible = "ti,omap4-cm";
		clock-output-names = "ducati_cm";
		reg = <0x900 0x100>;
		#address-cells = <1>;
		#size-cells = <1>;
		ranges = <0 0x900 0x100>;

		ducati_clkctrl: clk@20 {
			compatible = "ti,clkctrl";
			clock-output-names = "ducati_clkctrl";
			reg = <0x20 0x4>;
			#clock-cells = <2>;
		};
	};

	l3_dma_cm: l3_dma_cm@a00 {
		compatible = "ti,omap4-cm";
		clock-output-names = "l3_dma_cm";
		reg = <0xa00 0x100>;
		#address-cells = <1>;
		#size-cells = <1>;
		ranges = <0 0xa00 0x100>;

		l3_dma_clkctrl: clk@20 {
			compatible = "ti,clkctrl";
			clock-output-names = "l3_dma_clkctrl";
			reg = <0x20 0x4>;
			#clock-cells = <2>;
		};
	};

	l3_emif_cm: l3_emif_cm@b00 {
		compatible = "ti,omap4-cm";
		clock-output-names = "l3_emif_cm";
		reg = <0xb00 0x100>;
		#address-cells = <1>;
		#size-cells = <1>;
		ranges = <0 0xb00 0x100>;

		l3_emif_clkctrl: clk@20 {
			compatible = "ti,clkctrl";
			clock-output-names = "l3_emif_clkctrl";
			reg = <0x20 0x1c>;
			#clock-cells = <2>;
		};
	};

	d2d_cm: d2d_cm@c00 {
		compatible = "ti,omap4-cm";
		clock-output-names = "d2d_cm";
		reg = <0xc00 0x100>;
		#address-cells = <1>;
		#size-cells = <1>;
		ranges = <0 0xc00 0x100>;

		d2d_clkctrl: clk@20 {
			compatible = "ti,clkctrl";
			clock-output-names = "d2d_clkctrl";
			reg = <0x20 0x4>;
			#clock-cells = <2>;
		};
	};

	l4_cfg_cm: l4_cfg_cm@d00 {
		compatible = "ti,omap4-cm";
		clock-output-names = "l4_cfg_cm";
		reg = <0xd00 0x100>;
		#address-cells = <1>;
		#size-cells = <1>;
		ranges = <0 0xd00 0x100>;

		l4_cfg_clkctrl: clk@20 {
			compatible = "ti,clkctrl";
			clock-output-names = "l4_cfg_clkctrl";
			reg = <0x20 0x14>;
			#clock-cells = <2>;
		};
	};

	l3_instr_cm: l3_instr_cm@e00 {
		compatible = "ti,omap4-cm";
		clock-output-names = "l3_instr_cm";
		reg = <0xe00 0x100>;
		#address-cells = <1>;
		#size-cells = <1>;
		ranges = <0 0xe00 0x100>;

		l3_instr_clkctrl: clk@20 {
			compatible = "ti,clkctrl";
			clock-output-names = "l3_instr_clkctrl";
			reg = <0x20 0x24>;
			#clock-cells = <2>;
		};
	};

	ivahd_cm: ivahd_cm@f00 {
		compatible = "ti,omap4-cm";
		clock-output-names = "ivahd_cm";
		reg = <0xf00 0x100>;
		#address-cells = <1>;
		#size-cells = <1>;
		ranges = <0 0xf00 0x100>;

		ivahd_clkctrl: clk@20 {
			compatible = "ti,clkctrl";
			clock-output-names = "ivahd_clkctrl";
			reg = <0x20 0xc>;
			#clock-cells = <2>;
		};
	};

	iss_cm: iss_cm@1000 {
		compatible = "ti,omap4-cm";
		clock-output-names = "iss_cm";
		reg = <0x1000 0x100>;
		#address-cells = <1>;
		#size-cells = <1>;
		ranges = <0 0x1000 0x100>;

		iss_clkctrl: clk@20 {
			compatible = "ti,clkctrl";
			clock-output-names = "iss_clkctrl";
			reg = <0x20 0xc>;
			#clock-cells = <2>;
		};
	};

	l3_dss_cm: l3_dss_cm@1100 {
		compatible = "ti,omap4-cm";
		clock-output-names = "l3_dss_cm";
		reg = <0x1100 0x100>;
		#address-cells = <1>;
		#size-cells = <1>;
		ranges = <0 0x1100 0x100>;

		l3_dss_clkctrl: clk@20 {
			compatible = "ti,clkctrl";
			clock-output-names = "l3_dss_clkctrl";
			reg = <0x20 0x4>;
			#clock-cells = <2>;
		};
	};

	l3_gfx_cm: l3_gfx_cm@1200 {
		compatible = "ti,omap4-cm";
		clock-output-names = "l3_gfx_cm";
		reg = <0x1200 0x100>;
		#address-cells = <1>;
		#size-cells = <1>;
		ranges = <0 0x1200 0x100>;

		l3_gfx_clkctrl: clk@20 {
			compatible = "ti,clkctrl";
			clock-output-names = "l3_gfx_clkctrl";
			reg = <0x20 0x4>;
			#clock-cells = <2>;
		};
	};

	l3_init_cm: l3_init_cm@1300 {
		compatible = "ti,omap4-cm";
		clock-output-names = "l3_init_cm";
		reg = <0x1300 0x100>;
		#address-cells = <1>;
		#size-cells = <1>;
		ranges = <0 0x1300 0x100>;

		l3_init_clkctrl: clk@20 {
			compatible = "ti,clkctrl";
			clock-output-names = "l3_init_clkctrl";
			reg = <0x20 0xc4>;
			#clock-cells = <2>;
		};
	};

	l4_per_cm: clock@1400 {
		compatible = "ti,omap4-cm";
		clock-output-names = "l4_per_cm";
		reg = <0x1400 0x200>;
		#address-cells = <1>;
		#size-cells = <1>;
		ranges = <0 0x1400 0x200>;

		l4_per_clkctrl: clock@20 {
			compatible = "ti,clkctrl";
			clock-output-names = "l4_per_clkctrl";
			reg = <0x20 0x144>;
			#clock-cells = <2>;
		};

		l4_secure_clkctrl: clock@1a0 {
			compatible = "ti,clkctrl";
			clock-output-names = "l4_secure_clkctrl";
			reg = <0x1a0 0x3c>;
			#clock-cells = <2>;
		};
	};
};

&prm {
	l4_wkup_cm: l4_wkup_cm@1800 {
		compatible = "ti,omap4-cm";
		clock-output-names = "l4_wkup_cm";
		reg = <0x1800 0x100>;
		#address-cells = <1>;
		#size-cells = <1>;
		ranges = <0 0x1800 0x100>;

		l4_wkup_clkctrl: clk@20 {
			compatible = "ti,clkctrl";
			clock-output-names = "l4_wkup_clkctrl";
			reg = <0x20 0x5c>;
			#clock-cells = <2>;
		};
	};

	emu_sys_cm: emu_sys_cm@1a00 {
		compatible = "ti,omap4-cm";
		clock-output-names = "emu_sys_cm";
		reg = <0x1a00 0x100>;
		#address-cells = <1>;
		#size-cells = <1>;
		ranges = <0 0x1a00 0x100>;

		emu_sys_clkctrl: clk@20 {
			compatible = "ti,clkctrl";
			clock-output-names = "emu_sys_clkctrl";
			reg = <0x20 0x4>;
			#clock-cells = <2>;
		};
	};
};
